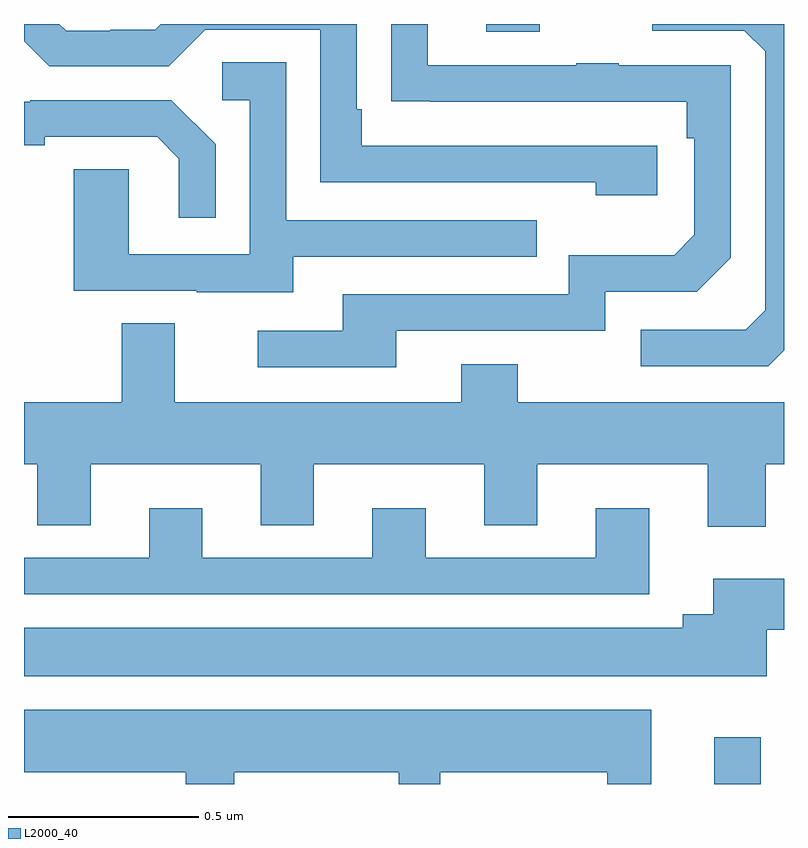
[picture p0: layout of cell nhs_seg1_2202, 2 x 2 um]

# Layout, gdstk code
import gdstk
lib = gdstk.Library(unit=1e-6, precision=1e-09)
def R(c, l, rs):  # rectangles x0, y0, x1, y1
    for r in rs: c.add(gdstk.rectangle(r[:2], r[2:], *l))
def P(c, l, *ps):  # polygons
    for p in ps: c.add(gdstk.Polygon(p, *l))
L2000_40 = (2000, 40)

nhs_seg1_2202 = lib.new_cell('nhs_seg1_2202')
R(nhs_seg1_2202, L2000_40, [(139.817,576.199,139.939,576.322), (139.217,578.178,139.357,578.199)])
P(nhs_seg1_2202, L2000_40, [(139.666,577.878),(138.889,577.878),(138.889,577.975),(138.876,577.975),(138.876,578.199),(138.36,578.199),(138.345,578.184),(138.227,578.184),(138.227,578.181),(138.111,578.181),(138.093,578.199),(138,578.199),(138,578.154),(138.066,578.088),(138.381,578.088),(138.477,578.184),(138.78,578.184),(138.78,577.782),(139.505,577.782),(139.505,577.748),(139.666,577.748)],
  [(138.979,577.392),(139.53,577.392),(139.53,577.494),(139.77,577.494),(139.86,577.584),(139.86,578.091),(139.565,578.091),(139.565,578.096),(139.453,578.096),(139.453,578.091),(139.063,578.091),(139.063,578.199),(138.967,578.199),(138.967,577.996),(139.069,577.996),(139.069,577.995),(139.744,577.995),(139.744,577.898),(139.764,577.898),(139.764,577.644),(139.711,577.591),(139.434,577.591),(139.434,577.488),(138.839,577.488),(138.839,577.392),(138.615,577.392),(138.615,577.296),(138.979,577.296)],
  [(140,577.34),(140,578.199),(139.653,578.199),(139.653,578.181),(139.896,578.181),(139.95,578.127),(139.95,577.446),(139.899,577.395),(139.623,577.395),(139.623,577.299),(139.959,577.299)],
  [(138.709,577.587),(139.349,577.587),(139.349,577.683),(138.69,577.683),(138.69,578.099),(138.522,578.099),(138.522,577.998),(138.594,577.998),(138.594,577.593),(138.276,577.593),(138.276,577.817),(138.131,577.817),(138.131,577.497),(138.455,577.497),(138.455,577.493),(138.709,577.493)],
  [(138.504,577.882),(138.388,577.998),(138.016,577.998),(138.016,577.995),(138,577.995),(138,577.88),(138.055,577.88),(138.055,577.902),(138.35,577.902),(138.407,577.845),(138.407,577.689),(138.504,577.689)],
  [(139.952,577.04),(140,577.04),(140,577.204),(139.299,577.204),(139.299,577.303),(139.151,577.303),(139.151,577.204),(138.397,577.204),(138.397,577.412),(138.257,577.412),(138.257,577.204),(138,577.204),(138,577.04),(138.035,577.04),(138.035,576.88),(138.175,576.88),(138.175,577.04),(138.623,577.04),(138.623,576.88),(138.763,576.88),(138.763,577.04),(139.211,577.04),(139.211,576.88),(139.351,576.88),(139.351,577.04),(139.799,577.04),(139.799,576.876),(139.952,576.876)],
  [(139.645,576.925),(139.505,576.925),(139.505,576.795),(139.057,576.795),(139.057,576.925),(138.917,576.925),(138.917,576.795),(138.469,576.795),(138.469,576.925),(138.329,576.925),(138.329,576.795),(138,576.795),(138,576.699),(139.645,576.699)],
  [(139.954,576.605),(140,576.605),(140,576.739),(139.814,576.739),(139.814,576.646),(139.733,576.646),(139.733,576.61),(138,576.61),(138,576.482),(139.954,576.482)],
  [(138.553,576.23),(138.986,576.23),(138.986,576.199),(139.096,576.199),(139.096,576.23),(139.535,576.23),(139.535,576.199),(139.651,576.199),(139.651,576.394),(138,576.394),(138,576.23),(138.425,576.23),(138.425,576.199),(138.553,576.199)])

lib.write_gds('nhs_seg1_2202.gds')
